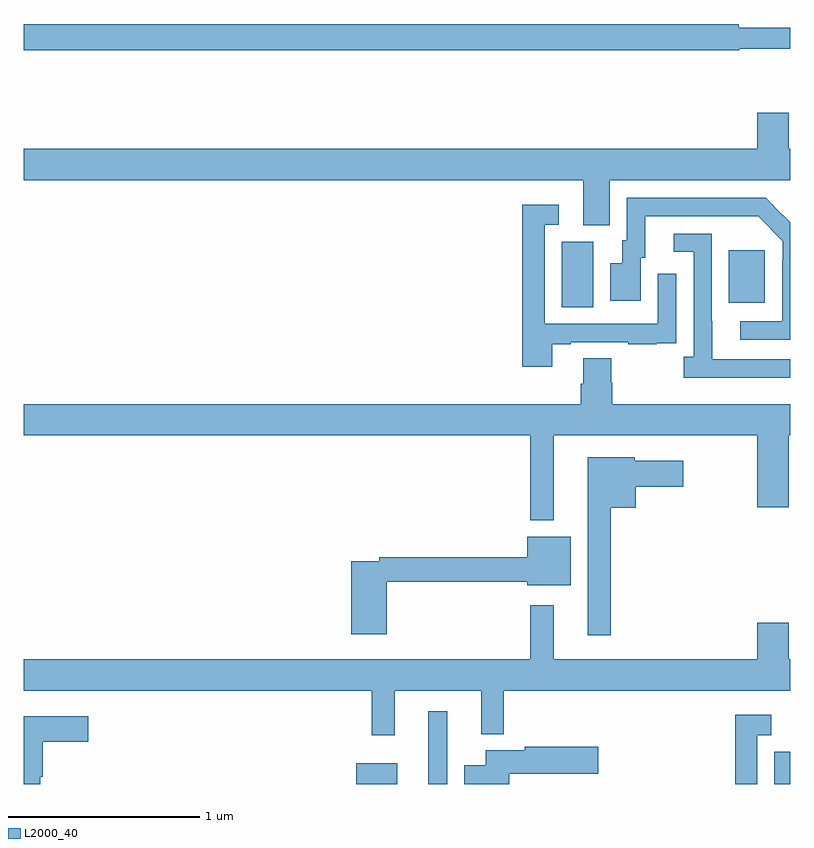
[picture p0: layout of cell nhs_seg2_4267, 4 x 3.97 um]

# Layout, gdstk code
import gdstk
lib = gdstk.Library(unit=1e-6, precision=1e-09)
def R(c, l, rs):  # rectangles x0, y0, x1, y1
    for r in rs: c.add(gdstk.rectangle(r[:2], r[2:], *l))
def P(c, l, *ps):  # polygons
    for p in ps: c.add(gdstk.Polygon(p, *l))
L2000_40 = (2000, 40)

nhs_seg2_4267 = lib.new_cell('nhs_seg2_4267')
R(nhs_seg2_4267, L2000_40, [(342.734,661.8,342.949,661.909), (343.112,661.8,343.209,662.179), (344.918,661.8,345,661.968), (343.808,664.288,343.972,664.632), (344.681,664.313,344.869,664.588)])
P(nhs_seg2_4267, L2000_40, [(344.734,665.64),(345,665.64),(345,665.749),(344.732,665.749),(344.732,665.768),(341,665.768),(341,665.632),(344.734,665.632)],
  [(344.059,664.952),(345,664.952),(345,665.116),(344.992,665.116),(344.992,665.305),(344.828,665.305),(344.828,665.116),(341,665.116),(341,664.952),(343.919,664.952),(343.919,664.717),(344.059,664.717)],
  [(345,664.734),(344.964,664.77),(344.963,664.769),(344.872,664.86),(344.148,664.86),(344.148,664.638),(344.123,664.638),(344.123,664.519),(344.06,664.519),(344.06,664.323),(344.221,664.323),(344.221,664.548),(344.245,664.548),(344.245,664.764),(344.833,664.764),(344.961,664.635),(344.961,664.535),(344.958,664.535),(344.958,664.215),(344.739,664.215),(344.739,664.119),(345,664.119)],
  [(343.759,664.095),(343.855,664.095),(343.855,664.107),(344.155,664.107),(344.155,664.095),(344.303,664.095),(344.303,664.101),(344.405,664.101),(344.405,664.21),(344.406,664.21),(344.406,664.465),(344.31,664.465),(344.31,664.203),(343.719,664.203),(343.719,664.719),(343.792,664.719),(343.792,664.825),(343.603,664.825),(343.603,663.978),(343.759,663.978)],
  [(345,664.017),(344.593,664.017),(344.593,664.217),(344.592,664.217),(344.592,664.674),(344.394,664.674),(344.394,664.578),(344.496,664.578),(344.496,664.03),(344.445,664.03),(344.445,663.92),(345,663.92)],
  [(343.765,663.62),(344.828,663.62),(344.828,663.246),(344.992,663.246),(344.992,663.62),(345,663.62),(345,663.784),(344.072,663.784),(344.072,663.897),(344.067,663.897),(344.067,664.022),(343.919,664.022),(343.919,663.89),(343.907,663.89),(343.907,663.784),(341,663.784),(341,663.62),(343.644,663.62),(343.644,663.176),(343.765,663.176)],
  [(344.065,663.242),(344.194,663.242),(344.194,663.353),(344.443,663.353),(344.443,663.487),(344.19,663.487),(344.19,663.505),(343.943,663.505),(343.943,662.577),(344.065,662.577)],
  [(342.893,662.856),(343.628,662.856),(343.628,662.837),(343.855,662.837),(343.855,663.091),(343.628,663.091),(343.628,662.984),(342.856,662.984),(342.856,662.964),(342.71,662.964),(342.71,662.583),(342.893,662.583)],
  [(342.935,662.288),(343.388,662.288),(343.388,662.06),(343.505,662.06),(343.505,662.288),(345,662.288),(345,662.452),(344.992,662.452),(344.992,662.641),(344.828,662.641),(344.828,662.452),(343.765,662.452),(343.765,662.734),(343.644,662.734),(343.644,662.452),(341,662.452),(341,662.288),(342.817,662.288),(342.817,662.055),(342.935,662.055)],
  [(344.829,662.055),(344.902,662.055),(344.902,662.161),(344.713,662.161),(344.713,661.8),(344.829,661.8)],
  [(341.086,661.837),(341.099,661.837),(341.099,662.021),(341.335,662.021),(341.335,662.155),(341,662.155),(341,661.8),(341.086,661.8)],
  [(343.534,661.853),(343.999,661.853),(343.999,661.995),(343.614,661.995),(343.614,661.975),(343.412,661.975),(343.412,661.897),(343.298,661.897),(343.298,661.8),(343.534,661.8)])

lib.write_gds('nhs_seg2_4267.gds')
